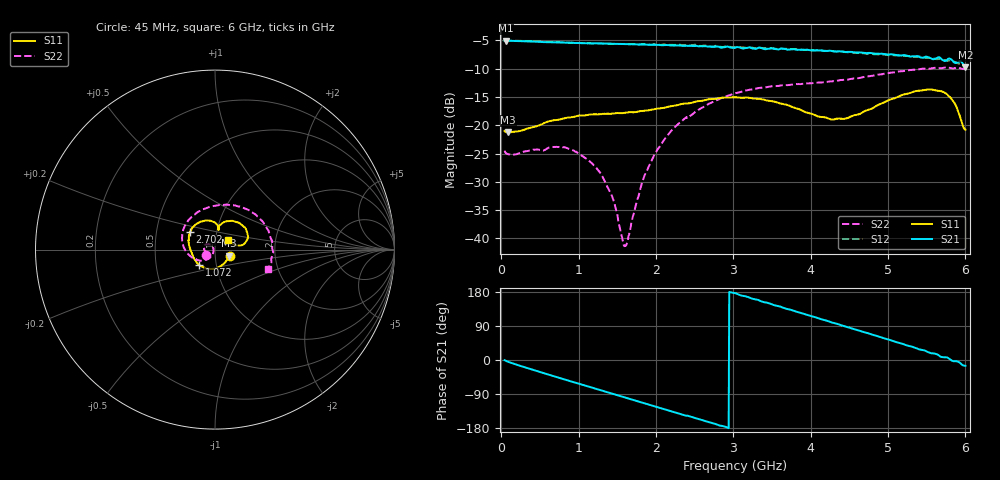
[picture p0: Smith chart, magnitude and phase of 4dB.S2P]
! C:\Users\Aljaz\OneDrive - Univerza v Ljubljani\DOKTORAT\NOVI SA\Slabilec PE43711B\meritve\4dB.S2P
! Touchstone 1.1 file saved by VNA.EXE V1.65 (www.ke5fx.com/gpib/readme.htm)
! 2. 04. 2022 19:13:06
!  Source: HP8510C.07.14: Aug 26  1998
!  Min freq: 4.500000E+007 Hz
!  Max freq: 6.000000E+009 Hz
!  Points: 801
!  Params: S11 S21 S12 S22
# GHZ S DB R 50
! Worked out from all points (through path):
!   801 points, 45 MHz to 6 GHz, reference 50 ohm
!   highest |S21| = -5.08 dB at 59.89 MHz (marker M1); lowest = -9.8 dB at 6 GHz (marker M2)
!   group delay of S21, straight-line fit = 170 ps
!   lowest |S11| = -21.3 dB at 89.66 MHz (marker M3), VSWR 1.19, Z = 58.4 - j4.09 ohm
!   |S11| at or under -10 dB: start of sweep to end of sweep
!   |S22| runs from -41.4 to -9.8 dB; largest |S21 - S12| = 0.025
!   S11 on the Smith chart (normalised r, x): 45 MHz: 1.18, -0.08; 1.072 GHz: 0.83, -0.14; 2.702 GHz: 0.74, +0.15; 6 GHz: 1.15, +0.13
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0.045  -21.01 -22.4  -5.09 -0.5  -5.02 -0.5  -24.49 -151.9
0.0598875  -21.20 -21.6  -5.08 -2.2  -5.02 -2.1  -24.91 -158.0
0.0896625  -21.27 -23.7  -5.09 -4.6  -5.05 -4.6  -25.12 -164.4
0.729825  -19.05 -106.2  -5.35 -45.7  -5.35 -45.8  -23.84 164.0
1.042463  -18.26 -133.3  -5.50 -64.9  -5.52 -64.8  -25.37 146.1
1.072237  -18.28 -135.6  -5.49 -66.6  -5.50 -66.4  -25.66 143.9
1.258331  -18.06 -148.6  -5.54 -78.0  -5.57 -77.7  -28.02 132.7
1.407206  -18.00 -157.2  -5.58 -87.2  -5.58 -86.6  -31.85 127.1
1.570969  -17.87 -165.3  -5.65 -97.1  -5.64 -96.5  -40.41 153.1
1.608188  -17.78 -167.1  -5.66 -99.3  -5.66 -98.8  -41.35 178.9
1.8315  -17.49 -176.0  -5.73 -113.0  -5.65 -112.0  -29.73 -117.3
2.032481  -17.04 176.7  -5.80 -125.4  -5.72 -124.9  -24.04 -126.7
2.278125  -16.45 165.9  -5.89 -140.2  -5.82 -139.5  -19.95 -142.3
2.702419  -15.37 145.1  -6.10 -165.1  -6.08 -165.4  -16.09 -173.2
3.0225  -15.05 126.9  -6.31 176.4  -6.25 175.9  -14.36 163.6
3.476569  -15.72 100.6  -6.46 148.8  -6.38 148.1  -13.17 133.3
4.019963  -18.03 80.7  -6.80 115.0  -6.70 114.3  -12.58 102.8
4.444256  -18.83 81.2  -7.04 88.7  -7.07 88.2  -11.98 81.6
5.009981  -15.56 69.7  -7.51 53.9  -7.63 54.1  -10.76 49.3
5.70225  -14.04 21.8  -8.45 7.6  -8.34 9.0  -9.91 0.5
5.851125  -15.92 10.1  -8.85 -3.3  -8.75 -1.9  -9.94 -10.5
6  -20.78 36.5  -9.76 -15.2  -9.71 -12.9  -10.00 -20.1
